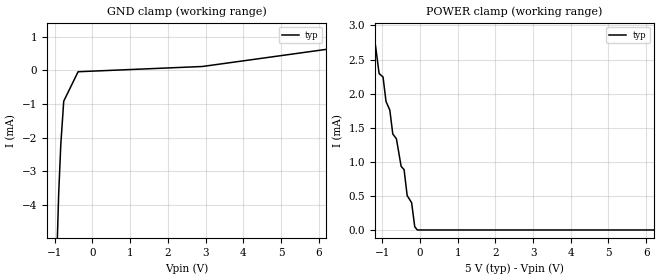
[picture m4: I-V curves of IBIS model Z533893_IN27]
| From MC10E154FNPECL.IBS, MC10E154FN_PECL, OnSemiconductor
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| (C) COPYRIGHT 1993-2000
| MENTOR GRAPHICS CORPORATION
| ICX STANDARD LIBRARY, ICX PROJECT MODELING,
| ICX CUSTOM MODELING, ICX VENDOR MODEL
| ALL RIGHTS RESERVED.
| THE FOLLOWING ARE TRADEMARKS OR SERVICE MARKS OF
| MENTOR GRAPHICS CORPORATION:ICX (R), ICX STANDARD
| LIBRARY(R), ICX PROJECT MODELING(R), ICX CUSTOM
| MODELING(R), qualityIBIS(TM), MODELVIEWER(TM),
| AND MODELEDITOR(TM)
| ALL COPIES OF SOFTWARE, INCLUDING BUT NOT LIMITED TO
| ANY MODIFICATIONS, ENHANCEMENTS OR DERIVATIVE WORKS,
| MUST CONTAIN ALL MENTOR GRAPHICS CORPORATION'S
| NOTICES AND LEGENDS, INCLUDING THOSE EMBEDDED IN
| SOFTWARE AND THOSE AFFIXED TO SOFTWARE MEDIUM
| AND CONTAINER, AS RECEIVED FROM MENTOR GRAPHICS
| CORPORATION.
| Model Application Version 1.89 2/18/99.
[Model] Z533893_IN27
Model_type Input_ECL
Vinl = 3.520V
Vinh = 3.870V
C_comp 4.000pF NA NA
| variable typ   min   max
[Voltage Range] 5.000V NA NA
[GND Clamp Reference] 0.000V NA NA
[POWER Clamp Reference] 5.000V NA NA
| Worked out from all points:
|   GND clamp passes 1 mA (typ) near -0.77 V on its own axis
|   POWER clamp passes 1 mA (typ) near -0.52 V on its own axis
[GND Clamp]
-5V       -235.3mA   NA         NA
-1.032V   -8.871mA   NA         NA
-896.2mV  -3.693mA   NA         NA
-839mV    -2.202mA   NA         NA
-761.6mV  -916.5uA   NA         NA
-380.8mV  -39.74uA   NA         NA
2.914V    116.4uA    NA         NA
10V       1.217mA    NA         NA
[POWER Clamp]
-5V       32.13mA    NA         NA
-1.361V   3.146mA    NA         NA
-1.18V    2.71mA     NA         NA
-1.083V   2.294mA    NA         NA
-979mV    2.244mA    NA         NA
-720mV    1.407mA    NA         NA
-624mV    1.337mA    NA         NA
-499mV    933.2uA    NA         NA
-421mV    885.3uA    NA         NA
-339mV    504.5uA    NA         NA
-69mV     0A         NA         NA
10V       0A         NA         NA
